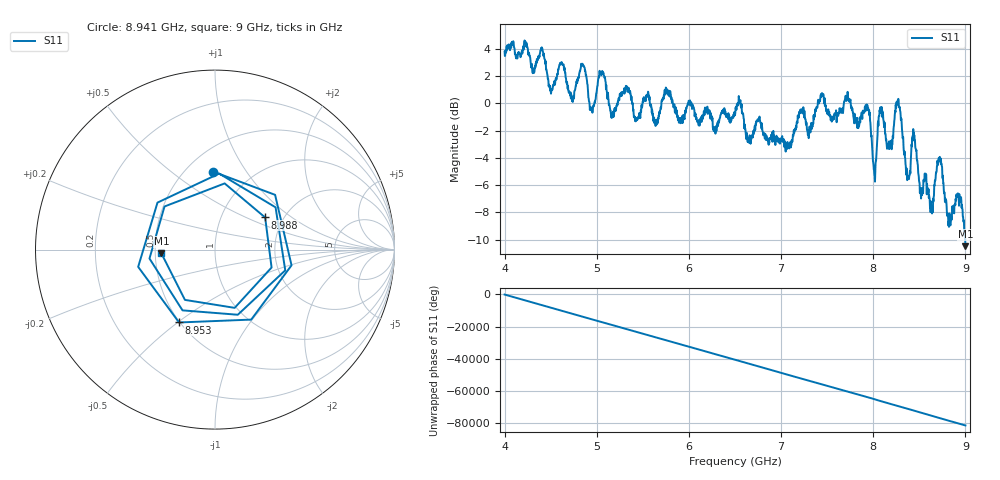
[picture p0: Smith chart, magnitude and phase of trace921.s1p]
! Created with skrf 1.8.0 (http://scikit-rf.org).
# Hz S RI R 50.0
!freq ReS11 ImS11
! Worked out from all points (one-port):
!   1601 points, 4 GHz to 9 GHz, reference 50 ohm
!   lowest |S11| = -10.5 dB at 9 GHz (marker M1), VSWR 1.86, Z = 27 - j1.23 ohm
!   |S11| at or under -10 dB: 8.998108 GHz to end of sweep
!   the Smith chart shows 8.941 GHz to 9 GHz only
!   S11 on the Smith chart (normalised r, x): 8.941 GHz: 0.67, +0.72; 8.953 GHz: 0.50, -0.51; 8.988 GHz: 1.61, +0.65; 9 GHz: 0.54, -0.02
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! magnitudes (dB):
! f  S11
! 4 GHz  3.8
! 4.406 GHz  4.1
! 4.503 GHz  0.7
! 4.625 GHz  2.9
! 4.728 GHz  0.4
! 4.853 GHz  2.7
! 4.947 GHz  -0.6
! 5.047 GHz  2.2
! 5.162 GHz  -0.8
! 5.25 GHz  0.7
! 5.875 GHz  -0.9
! 6.5 GHz  -0.9
! 7.125 GHz  -2.7
! 7.75 GHz  0.2
! 7.938 GHz  -0.1
! 8.012 GHz  -5.2
! 8.075 GHz  -0.5
! 8.175 GHz  -3.1
! 8.269 GHz  -0.1
! 8.375 GHz  -5.5
! 8.441 GHz  -2.2
! 8.628 GHz  -8.0
! 8.716 GHz  -4.2
! 8.825 GHz  -8.8
! 8.941 GHz  -7.2
! 8.953 GHz  -6.9
! 8.988 GHz  -9.6
! 9 GHz  -10.5
